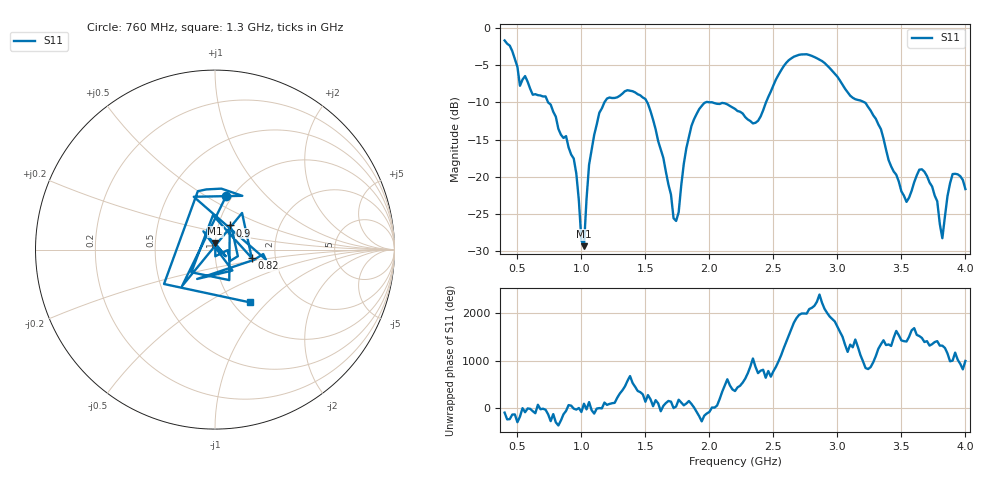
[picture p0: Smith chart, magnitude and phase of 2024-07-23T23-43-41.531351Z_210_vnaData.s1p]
!Created with skrf (http://scikit-rf.org).
# Hz S RI R 50.0
!freq ReS11 ImS11
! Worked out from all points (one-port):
!   181 points, 400 MHz to 4 GHz, reference 50 ohm
!   lowest |S11| = -29.3 dB at 1.02 GHz (marker M1), VSWR 1.07, Z = 50.1 + j3.41 ohm
!   |S11| at or under -10 dB: 740.2 MHz to 1.179 GHz (439.1 MHz wide, 45.8 % of centre); 1.515 GHz to 1.969 GHz (454.6 MHz wide, 26.1 % of centre); 3.213 GHz to end of sweep (the widest 3 of 4)
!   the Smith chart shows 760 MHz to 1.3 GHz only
!   S11 on the Smith chart (normalised r, x): 760 MHz: 0.94, +0.62; 820 MHz: 1.51, -0.15; 900 MHz: 1.13, +0.31; 1.3 GHz: 1.19, -0.80
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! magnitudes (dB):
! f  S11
! 400 MHz  -1.7
! 520 MHz  -7.8
! 760 MHz  -10.3
! 820 MHz  -13.6
! 860 MHz  -14.8
! 900 MHz  -16.1
! 960 MHz  -19.5
! 1 GHz  -28.6
! 1.02 GHz  -29.3
! 1.06 GHz  -18.4
! 1.14 GHz  -11.4
! 1.3 GHz  -9.1
! 1.52 GHz  -10.2
! 1.72 GHz  -25.6
! 1.76 GHz  -24.8
! 1.82 GHz  -16.1
! 1.92 GHz  -10.9
! 2.2 GHz  -10.9
! 2.38 GHz  -12.5
! 2.66 GHz  -3.8
! 3.1 GHz  -9.1
! 3.3 GHz  -12.2
! 3.56 GHz  -22.8
! 3.68 GHz  -19.3
! 3.78 GHz  -23.3
! 3.82 GHz  -28.3
! 3.9 GHz  -19.6
! 4 GHz  -21.7
